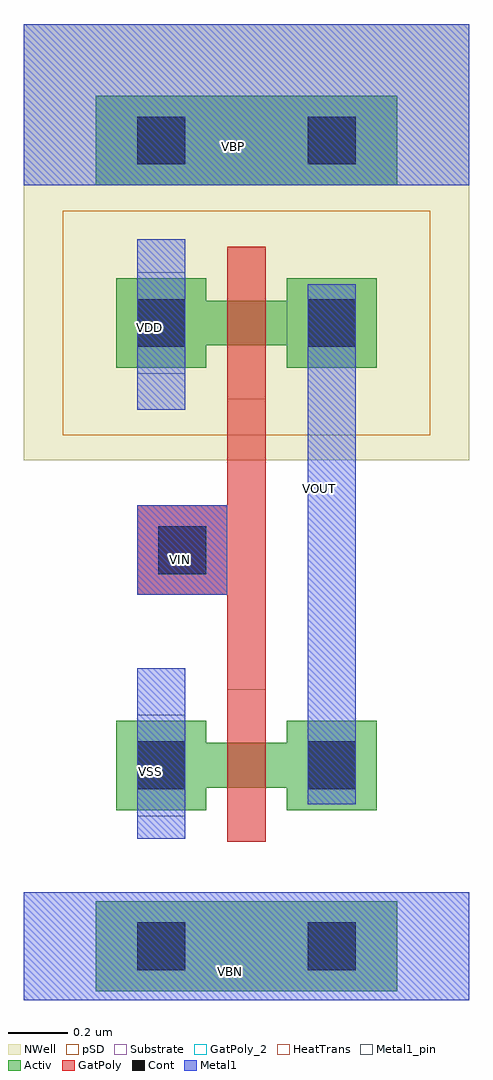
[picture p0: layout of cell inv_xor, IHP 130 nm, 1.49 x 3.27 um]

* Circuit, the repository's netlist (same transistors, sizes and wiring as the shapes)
** sch_path: /foss/designs/PhaseInterpolator/Custom_std_cells/inv_xor.sch
.subckt inv_xor VDD VBP VIN VBN VSS VOUT
*.PININFO VDD:B VSS:B VOUT:O VIN:I VBP:B VBN:B
M2 VOUT VIN VDD VBP sg13_lv_pmos w=0.15u l=0.13u ng=1 m=1
M1 VOUT VIN VSS VBN sg13_lv_nmos w=0.15u l=0.13u ng=1 m=1
.ends

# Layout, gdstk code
import gdstk
lib = gdstk.Library(unit=1e-6, precision=5e-09)
def R(c, l, rs):  # rectangles x0, y0, x1, y1
    for r in rs: c.add(gdstk.rectangle(r[:2], r[2:], *l))
Activ = (1, 0)
GatPoly = (5, 0)
GatPoly_2 = (5, 2)
Cont = (6, 0)
Metal1 = (8, 0)
Metal1_pin = (8, 2)
pSD = (14, 0)
NWell = (31, 0)
Substrate = (40, 0)
HeatTrans = (51, 0)

pmos = lib.new_cell('pmos')
R(pmos, Activ, [(0,0,0.3,0.3), (0.57,0,0.87,0.3), (0,0.075,0.87,0.225)])
R(pmos, GatPoly, [(0.37,-0.105,0.5,0.405), (0.37,-0.105,0.5,0.405)])
R(pmos, Cont, [(0.07,0.07,0.23,0.23), (0.64,0.07,0.8,0.23)])
R(pmos, Metal1, [(0.07,0.02,0.23,0.28), (0.07,0.02,0.23,0.28), (0.64,0.02,0.8,0.28), (0.64,0.02,0.8,0.28)])
R(pmos, pSD, [(-0.18,-0.225,1.05,0.525)])
R(pmos, NWell, [(-0.31,-0.31,1.18,0.61)])
R(pmos, Substrate, [(0.57,0,0.87,0.3)])
R(pmos, HeatTrans, [(0.37,-0.105,0.5,0.405)])
pmos.add(gdstk.Label('pmos', (0.435,0.15), layer=63, texttype=0))
pmos.add(gdstk.Label('pmos', (0.435,0.15), layer=51, texttype=0))

nmos = lib.new_cell('nmos')
R(nmos, Activ, [(0,0,0.3,0.3), (0.57,0,0.87,0.3), (0,0.075,0.87,0.225)])
R(nmos, GatPoly, [(0.37,-0.105,0.5,0.405)])
R(nmos, GatPoly_2, [(0.37,-0.105,0.5,0.405)])
R(nmos, Cont, [(0.07,0.07,0.23,0.23), (0.64,0.07,0.8,0.23)])
R(nmos, Metal1, [(0.07,0.02,0.23,0.28), (0.64,0.02,0.8,0.28)])
R(nmos, Metal1_pin, [(0.07,0.02,0.23,0.28), (0.64,0.02,0.8,0.28)])
R(nmos, HeatTrans, [(0.37,-0.105,0.5,0.405)])
nmos.add(gdstk.Label('nmos', (0.435,0.15), layer=63, texttype=0))
nmos.add(gdstk.Label('nmos', (0.435,0.15), layer=51, texttype=0))

inv_xor = lib.new_cell('inv_xor')
R(inv_xor, Activ, [(1.29,-0.04,2.3,0.26), (1.29,2.655,2.3,2.955)])
R(inv_xor, GatPoly, [(1.73,0.46,1.86,2.45), (1.43,1.285,1.73,1.585)])
R(inv_xor, Cont, [(1.43,0.03,1.59,0.19), (2,0.03,2.16,0.19), (1.5,1.355,1.66,1.515), (1.43,2.725,1.59,2.885), (2,2.725,2.16,2.885)])
R(inv_xor, Metal1, [(1.05,-0.07,2.54,0.29), (1.43,0.47,1.59,1.04), (2,0.585,2.16,2.325), (1.43,1.285,1.73,1.585), (1.43,1.905,1.59,2.475), (1.05,2.655,2.54,3.195)])
R(inv_xor, Metal1_pin, [(1.05,-0.07,2.54,0.29), (1.43,0.545,1.59,0.885), (2,0.585,2.16,2.325), (1.43,1.285,1.73,1.585), (1.43,2.025,1.59,2.365), (1.05,2.655,2.54,3.195)])
R(inv_xor, pSD, [(1.05,-0.07,2.54,0.29)])
R(inv_xor, NWell, [(1.05,2.655,2.54,3.195)])
inv_xor.add(gdstk.Reference(pmos, (1.36,2.045)))
inv_xor.add(gdstk.Reference(nmos, (1.36,0.565)))
inv_xor.add(gdstk.Label('VBN', (1.74,0.025), layer=8, texttype=25))
inv_xor.add(gdstk.Label('VSS', (1.475,0.695), layer=8, texttype=25))
inv_xor.add(gdstk.Label('VIN', (1.575,1.405), layer=8, texttype=25))
inv_xor.add(gdstk.Label('VOUT', (2.04,1.64), layer=8, texttype=25))
inv_xor.add(gdstk.Label('VDD', (1.47,2.18), layer=8, texttype=25))
inv_xor.add(gdstk.Label('VBP', (1.75,2.785), layer=8, texttype=25))

lib.write_gds('inv_xor.gds')
